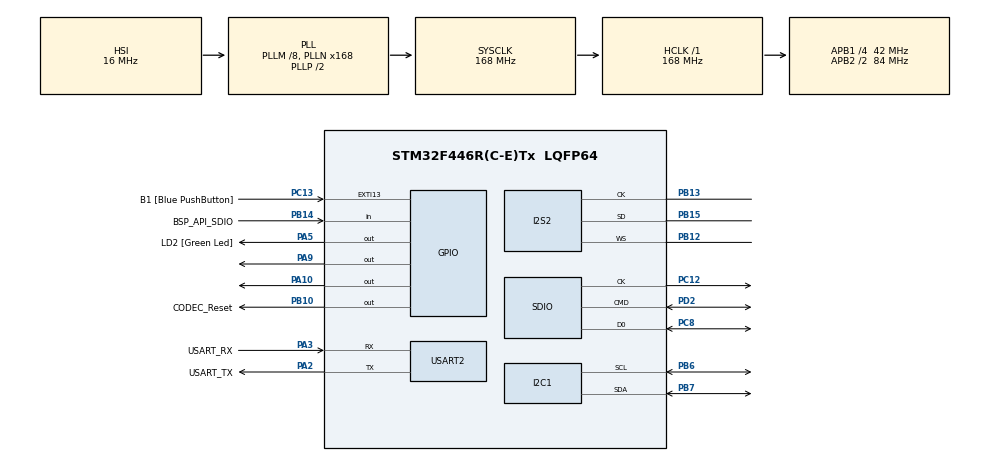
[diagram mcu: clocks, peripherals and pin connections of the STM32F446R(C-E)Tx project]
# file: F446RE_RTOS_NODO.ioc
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Dma.Request0=SPI2_RX
Dma.Request1=SDIO_RX
Dma.Request2=SDIO_TX
Dma.SDIO_RX.1.Direction=DMA_PERIPH_TO_MEMORY
Dma.SDIO_RX.1.FIFOMode=DMA_FIFOMODE_ENABLE
Dma.SDIO_RX.1.FIFOThreshold=DMA_FIFO_THRESHOLD_FULL
Dma.SDIO_RX.1.Instance=DMA2_Stream3
Dma.SDIO_RX.1.MemBurst=DMA_MBURST_INC4
Dma.SDIO_RX.1.MemDataAlignment=DMA_MDATAALIGN_WORD
Dma.SDIO_RX.1.MemInc=DMA_MINC_ENABLE
Dma.SDIO_RX.1.Mode=DMA_PFCTRL
Dma.SDIO_RX.1.PeriphBurst=DMA_PBURST_INC4
Dma.SDIO_RX.1.PeriphDataAlignment=DMA_PDATAALIGN_WORD
Dma.SDIO_RX.1.PeriphInc=DMA_PINC_DISABLE
Dma.SDIO_RX.1.Priority=DMA_PRIORITY_HIGH
Dma.SDIO_TX.2.Direction=DMA_MEMORY_TO_PERIPH
Dma.SDIO_TX.2.FIFOMode=DMA_FIFOMODE_ENABLE
Dma.SDIO_TX.2.FIFOThreshold=DMA_FIFO_THRESHOLD_FULL
Dma.SDIO_TX.2.Instance=DMA2_Stream6
Dma.SDIO_TX.2.MemBurst=DMA_MBURST_INC4
Dma.SDIO_TX.2.MemDataAlignment=DMA_MDATAALIGN_WORD
Dma.SDIO_TX.2.MemInc=DMA_MINC_ENABLE
Dma.SDIO_TX.2.Mode=DMA_PFCTRL
Dma.SDIO_TX.2.PeriphBurst=DMA_PBURST_INC4
Dma.SDIO_TX.2.PeriphDataAlignment=DMA_PDATAALIGN_WORD
Dma.SDIO_TX.2.PeriphInc=DMA_PINC_DISABLE
Dma.SDIO_TX.2.Priority=DMA_PRIORITY_HIGH
Dma.SPI2_RX.0.Direction=DMA_PERIPH_TO_MEMORY
Dma.SPI2_RX.0.FIFOMode=DMA_FIFOMODE_DISABLE
Dma.SPI2_RX.0.Instance=DMA1_Stream3
Dma.SPI2_RX.0.MemDataAlignment=DMA_MDATAALIGN_HALFWORD
Dma.SPI2_RX.0.MemInc=DMA_MINC_ENABLE
Dma.SPI2_RX.0.Mode=DMA_CIRCULAR
Dma.SPI2_RX.0.PeriphDataAlignment=DMA_PDATAALIGN_HALFWORD
Dma.SPI2_RX.0.PeriphInc=DMA_PINC_DISABLE
Dma.SPI2_RX.0.Priority=DMA_PRIORITY_MEDIUM
FATFS.BSP.number=1
FATFS._MAX_SS=512
FATFS._USE_CHMOD=1
FATFS._USE_LABEL=1
FATFS._USE_LFN=0
FATFS._USE_MUTEX=1
FATFS0.BSP.STBoard=false
FATFS0.BSP.api=Unknown
FATFS0.BSP.instance=PB14
FATFS0.BSP.ip=GPIO
FATFS0.BSP.mode=Input
FATFS0.BSP.name=Detect_SDIO
FATFS0.BSP.solution=PB14
FREERTOS.BinarySemaphores01=RxCommandSem,Dynamic,NULL;RxAudioSem,Dynamic,NULL
FREERTOS.Tasks01=defaultTask,24,128,StartDefaultTask,Default,NULL,Dynamic,NULL,NULL;UART,8,128,pvrCommandReceiveTask,Default,NULL,Dynamic,NULL,NULL;I2S,8,246,pvrWriteAudioTask,Default,NULL,Dynamic,NULL,NULL;WAV,8,1920,pvrWriteWavFileTask,Default,NULL,Dynamic,NULL,NULL
FREERTOS.configUSE_NEWLIB_REENTRANT=1
I2S2.AudioFreq=I2S_AUDIOFREQ_16K
I2S2.DataFormat=I2S_DATAFORMAT_24B
I2S2.ErrorAudioFreq=-0.35 %
I2S2.FullDuplexMode=I2S_FULLDUPLEXMODE_DISABLE
I2S2.Instance=SPI$Index
I2S2.Mode=I2S_MODE_MASTER_RX
I2S2.RealAudioFreq=15.943 KHz
I2S2.VirtualMode=I2S_MODE_MASTER
Mcu.Family=STM32F4
Mcu.Name=STM32F446R(C-E)Tx
Mcu.Package=LQFP64
NVIC.DMA1_Stream3_IRQn=true\:5\:0\:false\:false\:true\:true\:false\:true\:true
NVIC.DMA2_Stream3_IRQn=true\:5\:0\:false\:false\:true\:true\:false\:true\:true
NVIC.DMA2_Stream6_IRQn=true\:5\:0\:false\:false\:true\:true\:false\:true\:true
NVIC.PriorityGroup=NVIC_PRIORITYGROUP_4
NVIC.SDIO_IRQn=true\:5\:0\:false\:false\:true\:true\:true\:true\:true
NVIC.SPI2_IRQn=true\:5\:0\:false\:false\:true\:true\:true\:true\:true
NVIC.TIM1_UP_TIM10_IRQn=true\:15\:0\:false\:false\:true\:false\:false\:true\:true
NVIC.TimeBase=TIM1_UP_TIM10_IRQn
NVIC.TimeBaseIP=TIM1
NVIC.USART2_IRQn=true\:5\:0\:false\:false\:true\:true\:true\:true\:true
PA10.Signal=GPIO_Output
PA13.GPIO_Label=TMS
PA13.Mode=Serial_Wire
PA13.Signal=SYS_JTMS-SWDIO
PA14.GPIO_Label=TCK
PA14.Mode=Serial_Wire
PA14.Signal=SYS_JTCK-SWCLK
PA2.GPIO_Label=USART_TX
PA2.Mode=Asynchronous
PA2.Signal=USART2_TX
PA3.GPIO_Label=USART_RX
PA3.Mode=Asynchronous
PA3.Signal=USART2_RX
PA5.GPIO_Label=LD2 [Green Led]
PA5.Signal=GPIO_Output
PA9.Signal=GPIO_Output
PB10.GPIO_Label=CODEC_Reset
PB10.Signal=GPIO_Output
PB12.Mode=Half_Duplex_Master
PB12.Signal=I2S2_WS
PB13.Mode=Half_Duplex_Master
PB13.Signal=I2S2_CK
PB14.GPIO_Label=BSP_API_SDIO
PB14.Signal=GPIO_Input
PB15.Mode=Half_Duplex_Master
PB15.Signal=I2S2_SD
PB6.Mode=I2C
PB6.Signal=I2C1_SCL
PB7.Mode=I2C
PB7.Signal=I2C1_SDA
PC10.Signal=SDIO_D2
PC12.Mode=SD_1_bit
PC12.Signal=SDIO_CK
PC13.GPIO_Label=B1 [Blue PushButton]
PC13.GPIO_ModeDefaultEXTI=GPIO_MODE_IT_FALLING
PC13.Signal=GPXTI13
PC14-OSC32_IN.Mode=LSE-External-Oscillator
PC14-OSC32_IN.Signal=RCC_OSC32_IN
PC15-OSC32_OUT.Mode=LSE-External-Oscillator
PC15-OSC32_OUT.Signal=RCC_OSC32_OUT
PC8.Mode=SD_1_bit
PC8.Signal=SDIO_D0
PC9.Signal=SDIO_D1
PD2.Mode=SD_1_bit
PD2.Signal=SDIO_CMD
PH0-OSC_IN.Mode=HSE-External-Oscillator
PH0-OSC_IN.Signal=RCC_OSC_IN
PH1-OSC_OUT.Mode=HSE-External-Oscillator
PH1-OSC_OUT.Signal=RCC_OSC_OUT
ProjectManager.HeapSize=0x200
ProjectManager.StackSize=0x400
ProjectManager.TargetToolchain=STM32CubeIDE
RCC.48MHZClocksFreq_Value=84000000
RCC.AHBFreq_Value=168000000
RCC.APB1CLKDivider=RCC_HCLK_DIV4
RCC.APB1Freq_Value=42000000
RCC.APB1TimFreq_Value=84000000
RCC.APB2CLKDivider=RCC_HCLK_DIV2
RCC.APB2Freq_Value=84000000
RCC.APB2TimFreq_Value=168000000
RCC.CortexFreq_Value=168000000
RCC.FLatency-AdvancedSettings=FLASH_LATENCY_5
RCC.HCLKFreq_Value=168000000
RCC.HSE_VALUE=8000000
RCC.HSI_VALUE=16000000
RCC.PLLI2SM=8
RCC.PLLI2SN=50
RCC.PLLM=8
RCC.PLLN=168
RCC.PLLQ=7
RCC.SYSCLKFreq_VALUE=168000000
RCC.SYSCLKSource=RCC_SYSCLKSOURCE_PLLCLK
RCC.USBFreq_Value=48000000
RCC.VCOOutputFreq_Value=336000000
SDIO.ClockDiv=0
SDIO.HardwareFlowControl=SDIO_HARDWARE_FLOW_CONTROL_ENABLE
USART2.VirtualMode=VM_ASYNC
VP_CRC_VS_CRC.Mode=CRC_Activate
VP_FATFS_VS_SDIO.Mode=SDIO
VP_FREERTOS_VS_CMSIS_V2.Mode=CMSIS_V2
VP_SYS_VS_tim1.Mode=TIM1
board=NUCLEO-F446RE

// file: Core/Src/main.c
/* USER CODE BEGIN Header */
/**
  ******************************************************************************
  * @file           : main.c
  * @brief          : Main program body
  ******************************************************************************
  * @attention
  *
  * Copyright (c) 2023 STMicroelectronics.
  * All rights reserved.
  *
  * This software is licensed under terms that can be found in the LICENSE file
  * in the root directory of this software component.
  * If no LICENSE file comes with this software, it is provided AS-IS.
  *
  ******************************************************************************
  */
/* USER CODE END Header */
#include "main.h"
#include "cmsis_os.h"
#include "fatfs.h"

/* USER CODE BEGIN Includes */
#include <stdio.h>
#include <stdlib.h>
#include <string.h>
/* USER CODE END Includes */

/* USER CODE BEGIN PTD */
typedef struct _WaveHeader{
	char riff[4];
	uint32_t size;
	char wave[4];
	char fmt[4];
	uint32_t fmt_size;
	uint16_t format; //1:PCM
	uint16_t channels; // channels
	uint32_t sampleRate;  // sample rate
	uint32_t rbc;//sampleRate*bitsPerSample*channels/8
	uint16_t bc; //bitsPerSample*channels/8
	uint16_t bitsPerSample; //bitsPerSample
	char data[4];
	uint32_t data_size;
} WAVE_HEADER;

typedef enum {
    STATE_IDLE,
	CONNECTING,
    STATE_START_RECORDING,
    STATE_RECORDING,
    STATE_STOP
} AUDIO_STATE;

/* USER CODE END PTD */

/* USER CODE BEGIN PD */
#define MAX_COUNT	(40960)

#define I2S_DATA_WORD_LENGTH	(24)						// industry-standard 24-bit I2S
#define I2S_FRAME				(32)						// bits per sample
#define READ_SIZE				(256)						// samples to read from I2S
#define BUFFER_SIZE				(READ_SIZE*I2S_FRAME/16)	// number of uint16_t elements expected
#define WRITE_SIZE_BYTES		(BUFFER_SIZE*2)				// bytes to write

#define I2S_SAMPLE_FREQUENCY	(16000)						// sample frequency

/* USER CODE END PD */

CRC_HandleTypeDef hcrc;

I2C_HandleTypeDef hi2c1;

I2S_HandleTypeDef hi2s2;
DMA_HandleTypeDef hdma_spi2_rx;

SD_HandleTypeDef hsd;
DMA_HandleTypeDef hdma_sdio_rx;
DMA_HandleTypeDef hdma_sdio_tx;

UART_HandleTypeDef huart2;

/* Definitions for defaultTask */
osThreadId_t defaultTaskHandle;
const osThreadAttr_t defaultTask_attributes = {
  .name = "defaultTask",
  .stack_size = 128 * 4,
  .priority = (osPriority_t) osPriorityNormal,
};
/* Definitions for UART */
osThreadId_t UARTHandle;
const osThreadAttr_t UART_attributes = {
  .name = "UART",
  .stack_size = 128 * 4,
  .priority = (osPriority_t) osPriorityLow,
};
/* Definitions for I2S */
osThreadId_t I2SHandle;
const osThreadAttr_t I2S_attributes = {
  .name = "I2S",
  .stack_size = 246 * 4,
  .priority = (osPriority_t) osPriorityLow,
};
/* Definitions for WAV */
osThreadId_t WAVHandle;
const osThreadAttr_t WAV_attributes = {
  .name = "WAV",
  .stack_size = 1920 * 4,
  .priority = (osPriority_t) osPriorityLow,
};
/* Definitions for RxCommandSem */
osSemaphoreId_t RxCommandSemHandle;
const osSemaphoreAttr_t RxCommandSem_attributes = {
  .name = "RxCommandSem"
};
/* Definitions for RxAudioSem */
osSemaphoreId_t RxAudioSemHandle;
const osSemaphoreAttr_t RxAudioSem_attributes = {
  .name = "RxAudioSem"
};
/* USER CODE BEGIN PV */
static AUDIO_STATE audio_state = CONNECTING;
FRESULT res;
FIL file_ptr;

uint16_t aud_buf[2*BUFFER_SIZE];			// Double buffering
static volatile int16_t *BufPtr;

static char buf[4];
/* USER CODE END PV */

void SystemClock_Config(void);
static void MX_GPIO_Init(void);
static void MX_DMA_Init(void);
static void MX_USART2_UART_Init(void);
static void MX_I2S2_Init(void);
static void MX_SDIO_SD_Init(void);
static void MX_I2C1_Init(void);
static void MX_CRC_Init(void);
void StartDefaultTask(void *argument);
void pvrCommandReceiveTask(void *argument);
void pvrWriteAudioTask(void *argument);
void pvrWriteWavFileTask(void *argument);

/* USER CODE BEGIN PFP */
FRESULT fwrite_wav_header(FIL* file, uint16_t sampleRate, uint8_t bitsPerSample, uint8_t channels);
FRESULT Format_SD (void);
void convert_endianness(uint32_t *array, uint16_t Size);
/* USER CODE END PFP */

int main(void)
{

  /* MCU Configuration--------------------------------------------------------*/

  /* Reset of all peripherals, Initializes the Flash interface and the Systick. */
  HAL_Init();

  /* Configure the system clock */
  SystemClock_Config();

  /* Initialize all configured peripherals */
  MX_GPIO_Init();
  MX_DMA_Init();
  MX_USART2_UART_Init();
  MX_I2S2_Init();
  MX_SDIO_SD_Init();
  MX_FATFS_Init();
  MX_I2C1_Init();
  MX_CRC_Init();

  /* Init scheduler */
  osKernelInitialize();

  /* Create the semaphores(s) */
  /* creation of RxCommandSem */
  RxCommandSemHandle = osSemaphoreNew(1, 1, &RxCommandSem_attributes);

  /* creation of RxAudioSem */
  RxAudioSemHandle = osSemaphoreNew(1, 1, &RxAudioSem_attributes);

  /* USER CODE BEGIN RTOS_SEMAPHORES */
  /* add semaphores, ... */
  RxCommandSemHandle = osSemaphoreNew(1, 0, &RxCommandSem_attributes);

  RxAudioSemHandle = osSemaphoreNew(1, 0, &RxAudioSem_attributes);

  /* USER CODE END RTOS_SEMAPHORES */

  /* Create the thread(s) */
  /* creation of defaultTask */
  defaultTaskHandle = osThreadNew(StartDefaultTask, NULL, &defaultTask_attributes);

  /* creation of UART */
  UARTHandle = osThreadNew(pvrCommandReceiveTask, NULL, &UART_attributes);

  /* creation of I2S */
  I2SHandle = osThreadNew(pvrWriteAudioTask, NULL, &I2S_attributes);

  /* creation of WAV */
  WAVHandle = osThreadNew(pvrWriteWavFileTask, NULL, &WAV_attributes);

  /* Start scheduler */
  osKernelStart();

  /* We should never get here as control is now taken by the scheduler */
  /* Infinite loop */
  while (1)
  {

  }
}

void SystemClock_Config(void)
{
  RCC_OscInitTypeDef RCC_OscInitStruct = {0};
  RCC_ClkInitTypeDef RCC_ClkInitStruct = {0};

  /** Configure the main internal regulator output voltage
  */
  __HAL_RCC_PWR_CLK_ENABLE();
  __HAL_PWR_VOLTAGESCALING_CONFIG(PWR_REGULATOR_VOLTAGE_SCALE1);

  /** Initializes the RCC Oscillators according to the specified parameters
  * in the RCC_OscInitTypeDef structure.
  */
  RCC_OscInitStruct.OscillatorType = RCC_OSCILLATORTYPE_HSI;
  RCC_OscInitStruct.HSIState = RCC_HSI_ON;
  RCC_OscInitStruct.HSICalibrationValue = RCC_HSICALIBRATION_DEFAULT;
  RCC_OscInitStruct.PLL.PLLState = RCC_PLL_ON;
  RCC_OscInitStruct.PLL.PLLSource = RCC_PLLSOURCE_HSI;
  RCC_OscInitStruct.PLL.PLLM = 8;
  RCC_OscInitStruct.PLL.PLLN = 168;
  RCC_OscInitStruct.PLL.PLLP = RCC_PLLP_DIV2;
  RCC_OscInitStruct.PLL.PLLQ = 7;
  RCC_OscInitStruct.PLL.PLLR = 2;
  if (HAL_RCC_OscConfig(&RCC_OscInitStruct) != HAL_OK)
  {
    Error_Handler();
  }

  /** Initializes the CPU, AHB and APB buses clocks
  */
  RCC_ClkInitStruct.ClockType = RCC_CLOCKTYPE_HCLK|RCC_CLOCKTYPE_SYSCLK
                              |RCC_CLOCKTYPE_PCLK1|RCC_CLOCKTYPE_PCLK2;
  RCC_ClkInitStruct.SYSCLKSource = RCC_SYSCLKSOURCE_PLLCLK;
  RCC_ClkInitStruct.AHBCLKDivider = RCC_SYSCLK_DIV1;
  RCC_ClkInitStruct.APB1CLKDivider = RCC_HCLK_DIV4;
  RCC_ClkInitStruct.APB2CLKDivider = RCC_HCLK_DIV2;

  if (HAL_RCC_ClockConfig(&RCC_ClkInitStruct, FLASH_LATENCY_5) != HAL_OK)
  {
    Error_Handler();
  }
}

static void MX_CRC_Init(void)
{

  hcrc.Instance = CRC;
  if (HAL_CRC_Init(&hcrc) != HAL_OK)
  {
    Error_Handler();
  }

}

static void MX_I2C1_Init(void)
{

  hi2c1.Instance = I2C1;
  hi2c1.Init.ClockSpeed = 100000;
  hi2c1.Init.DutyCycle = I2C_DUTYCYCLE_2;
  hi2c1.Init.OwnAddress1 = 0;
  hi2c1.Init.AddressingMode = I2C_ADDRESSINGMODE_7BIT;
  hi2c1.Init.DualAddressMode = I2C_DUALADDRESS_DISABLE;
  hi2c1.Init.OwnAddress2 = 0;
  hi2c1.Init.GeneralCallMode = I2C_GENERALCALL_DISABLE;
  hi2c1.Init.NoStretchMode = I2C_NOSTRETCH_DISABLE;
  if (HAL_I2C_Init(&hi2c1) != HAL_OK)
  {
    Error_Handler();
  }

}

static void MX_I2S2_Init(void)
{

  hi2s2.Instance = SPI2;
  hi2s2.Init.Mode = I2S_MODE_MASTER_RX;
  hi2s2.Init.Standard = I2S_STANDARD_PHILIPS;
  hi2s2.Init.DataFormat = I2S_DATAFORMAT_24B;
  hi2s2.Init.MCLKOutput = I2S_MCLKOUTPUT_DISABLE;
  hi2s2.Init.AudioFreq = I2S_AUDIOFREQ_16K;
  hi2s2.Init.CPOL = I2S_CPOL_LOW;
  hi2s2.Init.ClockSource = I2S_CLOCK_PLL;
  hi2s2.Init.FullDuplexMode = I2S_FULLDUPLEXMODE_DISABLE;
  if (HAL_I2S_Init(&hi2s2) != HAL_OK)
  {
    Error_Handler();
  }

}

static void MX_SDIO_SD_Init(void)
{

  hsd.Instance = SDIO;
  hsd.Init.ClockEdge = SDIO_CLOCK_EDGE_RISING;
  hsd.Init.ClockBypass = SDIO_CLOCK_BYPASS_DISABLE;
  hsd.Init.ClockPowerSave = SDIO_CLOCK_POWER_SAVE_DISABLE;
  hsd.Init.BusWide = SDIO_BUS_WIDE_1B;
  hsd.Init.HardwareFlowControl = SDIO_HARDWARE_FLOW_CONTROL_ENABLE;
  hsd.Init.ClockDiv = 0;

}

static void MX_USART2_UART_Init(void)
{

  huart2.Instance = USART2;
  huart2.Init.BaudRate = 115200;
  huart2.Init.WordLength = UART_WORDLENGTH_8B;
  huart2.Init.StopBits = UART_STOPBITS_1;
  huart2.Init.Parity = UART_PARITY_NONE;
  huart2.Init.Mode = UART_MODE_TX_RX;
  huart2.Init.HwFlowCtl = UART_HWCONTROL_NONE;
  huart2.Init.OverSampling = UART_OVERSAMPLING_16;
  if (HAL_UART_Init(&huart2) != HAL_OK)
  {
    Error_Handler();
  }

}

static void MX_DMA_Init(void)
{

  /* DMA controller clock enable */
  __HAL_RCC_DMA1_CLK_ENABLE();
  __HAL_RCC_DMA2_CLK_ENABLE();

  /* DMA interrupt init */
  /* DMA1_Stream3_IRQn interrupt configuration */
  HAL_NVIC_SetPriority(DMA1_Stream3_IRQn, 5, 0);
  HAL_NVIC_EnableIRQ(DMA1_Stream3_IRQn);
  /* DMA2_Stream3_IRQn interrupt configuration */
  HAL_NVIC_SetPriority(DMA2_Stream3_IRQn, 5, 0);
  HAL_NVIC_EnableIRQ(DMA2_Stream3_IRQn);
  /* DMA2_Stream6_IRQn interrupt configuration */
  HAL_NVIC_SetPriority(DMA2_Stream6_IRQn, 5, 0);
  HAL_NVIC_EnableIRQ(DMA2_Stream6_IRQn);

}

static void MX_GPIO_Init(void)
{
  GPIO_InitTypeDef GPIO_InitStruct = {0};

  /* GPIO Ports Clock Enable */
  __HAL_RCC_GPIOC_CLK_ENABLE();
  __HAL_RCC_GPIOH_CLK_ENABLE();
  __HAL_RCC_GPIOA_CLK_ENABLE();
  __HAL_RCC_GPIOB_CLK_ENABLE();
  __HAL_RCC_GPIOD_CLK_ENABLE();

  /*Configure GPIO pin Output Level */
  HAL_GPIO_WritePin(GPIOA, LD2_Pin|GPIO_PIN_9|GPIO_PIN_10, GPIO_PIN_RESET);

  /*Configure GPIO pin Output Level */
  HAL_GPIO_WritePin(CODEC_Reset_GPIO_Port, CODEC_Reset_Pin, GPIO_PIN_RESET);

  /*Configure GPIO pin : B1_Pin */
  GPIO_InitStruct.Pin = B1_Pin;
  GPIO_InitStruct.Mode = GPIO_MODE_IT_FALLING;
  GPIO_InitStruct.Pull = GPIO_NOPULL;
  HAL_GPIO_Init(B1_GPIO_Port, &GPIO_InitStruct);

  /*Configure GPIO pins : LD2_Pin PA9 PA10 */
  GPIO_InitStruct.Pin = LD2_Pin|GPIO_PIN_9|GPIO_PIN_10;
  GPIO_InitStruct.Mode = GPIO_MODE_OUTPUT_PP;
  GPIO_InitStruct.Pull = GPIO_NOPULL;
  GPIO_InitStruct.Speed = GPIO_SPEED_FREQ_LOW;
  HAL_GPIO_Init(GPIOA, &GPIO_InitStruct);

  /*Configure GPIO pin : CODEC_Reset_Pin */
  GPIO_InitStruct.Pin = CODEC_Reset_Pin;
  GPIO_InitStruct.Mode = GPIO_MODE_OUTPUT_PP;
  GPIO_InitStruct.Pull = GPIO_NOPULL;
  GPIO_InitStruct.Speed = GPIO_SPEED_FREQ_LOW;
  HAL_GPIO_Init(CODEC_Reset_GPIO_Port, &GPIO_InitStruct);

  /*Configure GPIO pin : BSP_API_SDIO_Pin */
  GPIO_InitStruct.Pin = BSP_API_SDIO_Pin;
  GPIO_InitStruct.Mode = GPIO_MODE_INPUT;
  GPIO_InitStruct.Pull = GPIO_NOPULL;
  HAL_GPIO_Init(BSP_API_SDIO_GPIO_Port, &GPIO_InitStruct);

}

/* USER CODE BEGIN 4 */
void HAL_UARTEx_RxEventCallback(UART_HandleTypeDef *huart, uint16_t Size)
{
	osSemaphoreRelease(RxCommandSemHandle);
	HAL_UARTEx_ReceiveToIdle_IT(huart, (uint8_t *)buf, 4);
}

void HAL_I2S_RxHalfCpltCallback(I2S_HandleTypeDef *hi2s)
{
	BufPtr = aud_buf;
	osSemaphoreRelease(RxAudioSemHandle);
}

void HAL_I2S_RxCpltCallback(I2S_HandleTypeDef *hi2s)
{
	BufPtr = &aud_buf[BUFFER_SIZE];
	osSemaphoreRelease(RxAudioSemHandle);
}

FRESULT fwrite_wav_header(FIL* file, uint16_t sampleRate, uint8_t bitsPerSample, uint8_t channels) {
	static UINT *bw;
	WAVE_HEADER wave_header;
	wave_header.riff[0] = 'R';wave_header.riff[1] = 'I';
	wave_header.riff[2] = 'F';wave_header.riff[3] = 'F';
	wave_header.size = (uint32_t)0;
	wave_header.wave[0] = 'W';wave_header.wave[1] = 'A';
	wave_header.wave[2] = 'V';wave_header.wave[3] = 'E';
	wave_header.fmt[0] = 'f';wave_header.fmt[1] = 'm';
	wave_header.fmt[2] = 't';wave_header.fmt[3] = ' ';
	wave_header.fmt_size = 16;
	wave_header.format = 1; 								// PCM
	wave_header.channels = channels; 						// channels
	wave_header.sampleRate=sampleRate;  					// sample rate
	wave_header.rbc = sampleRate*bitsPerSample*channels/8;
	wave_header.bc =  bitsPerSample*channels/8;
	wave_header.bitsPerSample = bitsPerSample; 				// bitsPerSample
	wave_header.data[0] = 'd'; wave_header.data[1] = 'a';
	wave_header.data[2] = 't'; wave_header.data[3] = 'a';
	wave_header.data_size = 0;
	return f_write(file, (uint8_t*)&wave_header, sizeof(wave_header), bw);
}

FRESULT Format_SD (void)
{
	DIR dir;
	static FILINFO fno;
	static FRESULT fresult;

	char *path = malloc(20*sizeof (char));
	sprintf (path, "%s","/");

	fresult = f_opendir(&dir, path);                       /* Open the directory */
	if (fresult == FR_OK)
	{
		for (;;)
		{
			fresult = f_readdir(&dir, &fno);                   /* Read a directory item */
			if (fresult != FR_OK || fno.fname[0] == 0) break;  /* Break on error or end of dir */
			if (fno.fattrib & AM_DIR)     /* It is a directory */
			{
				if (!(strcmp ("SYSTEM~1", fno.fname))) continue;
				fresult = f_unlink(fno.fname);
				if (fresult == FR_DENIED) continue;
			}
			else
			{   /* It is a file. */
				fresult = f_unlink(fno.fname);
			}
		}
		f_closedir(&dir);
	}
	free(path);
	return fresult;
}

/*
This function takes in a pointer to an array of 32-bit unsigned integers
and a 16-bit unsigned integer (Size) as input.
It converts the endianness of each element in the array using the __REV
intrinsic function.
The for loop iterates through each element in the array, and at each iteration,
the endianness of the current element is converted.
*/
void convert_endianness(uint32_t *array, uint16_t Size) {
    for (int i = 0; i < Size; i++) {
        array[i] = __REV(array[i]);
    }
}

/* USER CODE END 4 */

void StartDefaultTask(void *argument)
{
  /* USER CODE BEGIN 5 */
  /* Infinite loop */
  for(;;)
  {
    osThreadSuspend(defaultTaskHandle);
  }
  /* USER CODE END 5 */
}

/* USER CODE BEGIN Header_pvrCommandReceiveTask */
/**
* @brief
* This function is a task that is responsible for receiving commands from the UART
* interface.
* It first initializes the UART receive interrupt using the HAL_UARTEx_ReceiveToIdle_IT()
* function.
* The task enters an infinite loop, where it waits for the RxCommandSemHandle semaphore
* to be acquired.
* Once the semaphore is acquired, the task checks the first byte of the received buffer
* (buf) to determine which command was received.
*
* 	If the first byte is 'G', it checks if the audio state is in the IDLE state, and if
* 	so, it resumes the WAVHandle thread.
* 	If the first byte is 'P', it checks if the audio state is in the RECORDING state, and
* 	if so, it sets the audio state to STOP.
* 	If the first byte is '.', it sets the audio state to CONNECTING.
* 	If the first byte is '+', it sets the audio state to IDLE.
* 	If the first byte is any other value, the task does nothing.
*
* @param argument: Not used
* @retval None
*/
/* USER CODE END Header_pvrCommandReceiveTask */
void pvrCommandReceiveTask(void *argument)
{
  /* USER CODE BEGIN pvrCommandReceiveTask */
	HAL_UARTEx_ReceiveToIdle_IT(&huart2, (uint8_t *)buf, 4);
  /* Infinite loop */
	for(;;)
	{

		// Wait for semaphore to be released, data has been received on the UART.
		osSemaphoreAcquire(RxCommandSemHandle, osWaitForever);

		// Check the first byte of the received data to determine the command.
		switch(buf[0])
		{
		case 'G':
			// If the command is 'G', and the audio state is currently idle,
			// resume the WAV recording task.
			if(audio_state == STATE_IDLE) osThreadResume(WAVHandle);
			break;
		case 'P':
			// If the command is 'P', and the audio state is currently recording,
			// change the state to stop recording.
			while(audio_state == STATE_START_RECORDING) osDelay(500);
			if(audio_state == STATE_RECORDING) audio_state = STATE_STOP;
			break;
		case '.':
			audio_state = CONNECTING;
			break;
		case '+':
			audio_state = STATE_IDLE;
			break;
		default:
			// If the command is not recognized, do nothing.
			break;
		}
	}
  /* USER CODE END pvrCommandReceiveTask */
}

void pvrWriteAudioTask(void *argument)
{
  /* USER CODE BEGIN pvrWriteAudioTask */
	static UINT *bw;

	/* Infinite loop */
	for(;;)
	{
		osSemaphoreAcquire(RxAudioSemHandle, osWaitForever);

		convert_endianness((uint32_t *)BufPtr, READ_SIZE);
		res = f_write(&file_ptr, BufPtr, WRITE_SIZE_BYTES, bw);
	}
  /* USER CODE END pvrWriteAudioTask */
}

void pvrWriteWavFileTask(void *argument)
{
  /* USER CODE BEGIN pvrWriteWavFileTask */

	// Initialize variables
	static uint16_t count = 0;	 	// counter for creating unique filenames
	uint32_t filesize;				// variable to store the size of the recorded file
	uint32_t data_len;				// variable to store the length of the data in the file
	uint32_t total_len;				// variable to store the total length of the file (including header)
	static char filename[256];		// variable to store the filename of the recorded file
	static UINT *bw;				// variable for fwrite function

	// Mount the SD card and format it if necessary
	do
	{
		res = f_mount(&SDFatFS, SDPath, 1);
	}
	while( res != FR_OK);

	do
	{
		res = Format_SD();
	}
	while (res != FR_OK);
	/* Infinite loop */
	for(;;)
	{
		switch(audio_state)
		{
		case STATE_START_RECORDING:

			// Create a unique filename for the recorded file
			sprintf(filename, "%saud_%03d.wav", SDPath, count++);

			// Open the file in write mode
			do
			{
				res = f_open(&file_ptr, filename, FA_CREATE_ALWAYS|FA_WRITE);
			}
			while(res != FR_OK);

			// Write the WAV header to the file
			res = fwrite_wav_header(&file_ptr, I2S_SAMPLE_FREQUENCY, I2S_FRAME, 2);

			// Start recording audio using DMA
			HAL_I2S_Receive_DMA(&hi2s2, aud_buf, 2*READ_SIZE);
			audio_state = STATE_RECORDING;
			break;

		case STATE_RECORDING:

			// Wait for 50ms before checking the state again
			osDelay(50);
			break;

		case STATE_STOP:

			// Stop the DMA recording
			HAL_I2S_DMAStop(&hi2s2);

			// Wait for any remaining audio data to be processed
			while(osSemaphoreGetCount(RxAudioSemHandle)) osDelay(250);

			// Get the size of the file and calculate the length of the data and total length
			filesize = f_size(&file_ptr);
			data_len = filesize - 44;
			total_len = filesize - 8;

			// Update the WAV header with the correct data length and total length
			f_lseek(&file_ptr, 4);
			f_write(&file_ptr, (uint8_t*)&total_len, 4, bw);
			f_lseek(&file_ptr, 40);
			f_write(&file_ptr, (uint8_t*)&data_len, 4, bw);

			// Close the file
			f_close(&file_ptr);

			// Set the audio state to idle
			audio_state = STATE_IDLE;
			break;

		case STATE_IDLE:

			// Suspend the task until the next recording is started
			osThreadSuspend(WAVHandle);
			audio_state = STATE_START_RECORDING;
			break;

		default:
			osDelay(50);
			break;
		}
	}
  /* USER CODE END pvrWriteWavFileTask */
}

void HAL_TIM_PeriodElapsedCallback(TIM_HandleTypeDef *htim)
{
  if (htim->Instance == TIM1) {
    HAL_IncTick();
  }
}

void Error_Handler(void)
{
  __disable_irq();
  while (1)
  {
  }
}
